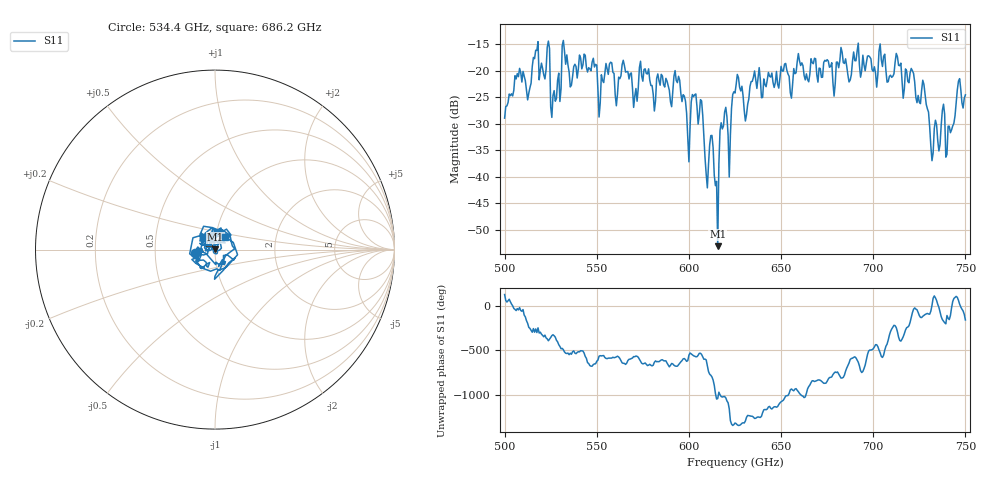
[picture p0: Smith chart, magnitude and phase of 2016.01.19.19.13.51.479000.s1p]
!Created with skrf (http://scikit-rf.org).
# GHz S RI R 50.0
!freq ReS11 ImS11
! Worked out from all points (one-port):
!   401 points, 500 GHz to 750 GHz, reference 50 ohm
!   lowest |S11| = -53.1 dB at 615.6 GHz (marker M1), VSWR 1.00, Z = 50.2 + j0.14 ohm
!   |S11| at or under -10 dB: start of sweep to end of sweep
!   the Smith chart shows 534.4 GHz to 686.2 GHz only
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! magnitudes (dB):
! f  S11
! 500 GHz  -29.0
! 506.9 GHz  -20.6
! 513.1 GHz  -24.2
! 516.9 GHz  -16.2
! 523.1 GHz  -15.6
! 526.2 GHz  -24.7
! 531.2 GHz  -15.3
! 562.5 GHz  -21.5
! 593.8 GHz  -22.3
! 599.4 GHz  -32.6
! 602.5 GHz  -24.9
! 606.9 GHz  -25.7
! 609.4 GHz  -39.6
! 611.9 GHz  -32.3
! 615.6 GHz  -53.1
! 618.1 GHz  -31.0
! 621.9 GHz  -40.1
! 625 GHz  -24.2
! 631.2 GHz  -28.3
! 635 GHz  -21.2
! 656.2 GHz  -22.6
! 660 GHz  -18.2
! 687.5 GHz  -21.8
! 690.6 GHz  -18.1
! 718.8 GHz  -22.0
! 727.5 GHz  -22.6
! 731.9 GHz  -37.0
! 750 GHz  -24.6
